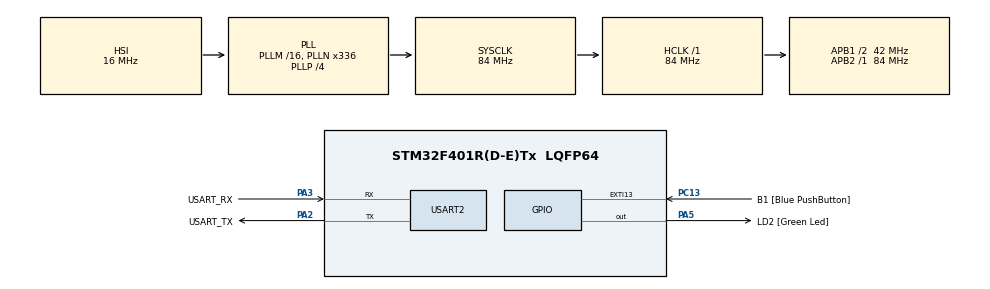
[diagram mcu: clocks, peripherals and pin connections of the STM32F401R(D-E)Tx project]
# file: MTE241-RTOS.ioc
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Mcu.Family=STM32F4
Mcu.Name=STM32F401R(D-E)Tx
Mcu.Package=LQFP64
NVIC.PriorityGroup=NVIC_PRIORITYGROUP_0
PA13.GPIO_Label=TMS
PA13.Mode=Serial_Wire
PA13.Signal=SYS_JTMS-SWDIO
PA14.GPIO_Label=TCK
PA14.Mode=Serial_Wire
PA14.Signal=SYS_JTCK-SWCLK
PA2.GPIO_Label=USART_TX
PA2.GPIO_Mode=GPIO_MODE_AF_PP
PA2.GPIO_PuPd=GPIO_NOPULL
PA2.GPIO_Speed=GPIO_SPEED_FREQ_LOW
PA2.Mode=Asynchronous
PA2.Signal=USART2_TX
PA3.GPIO_Label=USART_RX
PA3.GPIO_Mode=GPIO_MODE_AF_PP
PA3.GPIO_PuPd=GPIO_NOPULL
PA3.GPIO_Speed=GPIO_SPEED_FREQ_LOW
PA3.Mode=Asynchronous
PA3.Signal=USART2_RX
PA5.GPIO_Label=LD2 [Green Led]
PA5.GPIO_Mode=GPIO_MODE_OUTPUT_PP
PA5.GPIO_PuPd=GPIO_NOPULL
PA5.GPIO_Speed=GPIO_SPEED_FREQ_LOW
PA5.Signal=GPIO_Output
PB3.GPIO_Label=SWO
PB3.Signal=SYS_JTDO-SWO
PC13-ANTI_TAMP.GPIO_Label=B1 [Blue PushButton]
PC13-ANTI_TAMP.GPIO_ModeDefaultEXTI=GPIO_MODE_IT_FALLING
PC13-ANTI_TAMP.GPIO_PuPd=GPIO_NOPULL
PC13-ANTI_TAMP.Signal=GPXTI13
PC14-OSC32_IN.Mode=LSE-External-Oscillator
PC14-OSC32_IN.Signal=RCC_OSC32_IN
PC15-OSC32_OUT.Mode=LSE-External-Oscillator
PC15-OSC32_OUT.Signal=RCC_OSC32_OUT
PH0\ -\ OSC_IN.Mode=HSE-External-Clock-Source
PH0\ -\ OSC_IN.Signal=RCC_OSC_IN
PH1\ -\ OSC_OUT.Mode=HSE-External-Clock-Source
PH1\ -\ OSC_OUT.Signal=RCC_OSC_OUT
ProjectManager.HeapSize=0x200
ProjectManager.StackSize=0x400
ProjectManager.TargetToolchain=STM32CubeIDE
RCC.48MHZClocksFreq_Value=48000000
RCC.AHBFreq_Value=84000000
RCC.APB1CLKDivider=RCC_HCLK_DIV2
RCC.APB1Freq_Value=42000000
RCC.APB1TimFreq_Value=84000000
RCC.APB2Freq_Value=84000000
RCC.APB2TimFreq_Value=84000000
RCC.CortexFreq_Value=84000000
RCC.HCLKFreq_Value=84000000
RCC.HSE_VALUE=8000000
RCC.HSI_VALUE=16000000
RCC.PLLN=336
RCC.PLLP=RCC_PLLP_DIV4
RCC.PLLQ=7
RCC.SYSCLKFreq_VALUE=84000000
RCC.SYSCLKSource=RCC_SYSCLKSOURCE_PLLCLK
RCC.VCOOutputFreq_Value=336000000
USART2.VirtualMode=VM_ASYNC
board=NUCLEO-F401RE

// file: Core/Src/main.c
/* USER CODE BEGIN Header */
/**
  ******************************************************************************
  * @file           : main.c
  * @brief          : Main program body
  ******************************************************************************
  * @attention
  *
  * Copyright (c) 2023 STMicroelectronics.
  * All rights reserved.
  *
  * This software is licensed under terms that can be found in the LICENSE file
  * in the root directory of this software component.
  * If no LICENSE file comes with this software, it is provided AS-IS.
  *
  ******************************************************************************
  */
/* USER CODE END Header */
#include "main.h"
#include "kernel.h"

UART_HandleTypeDef huart2;

void SystemClock_Config(void);
static void MX_GPIO_Init(void);
static void MX_USART2_UART_Init(void);
/* USER CODE BEGIN PFP */
int __io_putchar(int ch)
{
	HAL_UART_Transmit(&huart2, (uint8_t*)&ch, 1, HAL_MAX_DELAY);
	return ch;
}
volatile uint32_t valueToModify = 1;
/* USER CODE END PFP */

/* USER CODE BEGIN 0 */

uint32_t* interesting = 0xBA5EBA11;

typedef struct{
	uint32_t input1;
	uint32_t input2;
}myStruct;

void thread_function(void* args) {

    myStruct *structPtr = (myStruct*)args;

	while (1) {
		printf("\r\nThread2: %lu\r\n", valueToModify);
	}
}

void print_continuously(void* args) {
    myStruct *structPtr = (myStruct*)args;

	while (1) {
		valueToModify = valueToModify+(structPtr -> input2);
		valueToModify = valueToModify*(structPtr -> input1);
		if (valueToModify > 10000) valueToModify = 1;
		osYield();
	}
}

/* USER CODE END 0 */

myStruct struct1;
myStruct *structptr = &struct1;

int main(void)
{
  /* USER CODE BEGIN 1 */
	struct1.input1 = 2;
	struct1.input2 = 3;

  /* USER CODE END 1 */

  /* MCU Configuration--------------------------------------------------------*/

  /* Reset of all peripherals, Initializes the Flash interface and the Systick. */
  HAL_Init();

  /* Configure the system clock */
  SystemClock_Config();

  /* Initialize all configured peripherals */
  MX_GPIO_Init();
  MX_USART2_UART_Init();
  //USER CODE BEGIN 2
  //char m = 'm';
  //printf("Hello, world!\r\n");

  //printf("MSP Init is: %p\n\r", MSP_INIT_VAL);

  osKernelInitialize();
  osCreateThreadWithDeadline((void*)thread_function, (void*)structptr, 200);
  osCreateThread((void*)print_continuously, (void*)structptr);
  //osCreateThread((void*)print_again);
  osKernelStart();

  //__set_PSP(PSP_val);
  //__set_CONTROL(2);
  /* USER CODE END 2 */

  // Infinite loop */
  /* USER CODE BEGIN WHILE */
  //print_continuously();
  //jumpAssembly((void*)print_continuously);
  //print_success();
  //print_fail();

  while (1)
  {

    /* USER CODE END WHILE */

  }
}

void SystemClock_Config(void)
{
  RCC_OscInitTypeDef RCC_OscInitStruct = {0};
  RCC_ClkInitTypeDef RCC_ClkInitStruct = {0};

  /** Configure the main internal regulator output voltage
  */
  __HAL_RCC_PWR_CLK_ENABLE();
  __HAL_PWR_VOLTAGESCALING_CONFIG(PWR_REGULATOR_VOLTAGE_SCALE2);

  /** Initializes the RCC Oscillators according to the specified parameters
  * in the RCC_OscInitTypeDef structure.
  */
  RCC_OscInitStruct.OscillatorType = RCC_OSCILLATORTYPE_HSI;
  RCC_OscInitStruct.HSIState = RCC_HSI_ON;
  RCC_OscInitStruct.HSICalibrationValue = RCC_HSICALIBRATION_DEFAULT;
  RCC_OscInitStruct.PLL.PLLState = RCC_PLL_ON;
  RCC_OscInitStruct.PLL.PLLSource = RCC_PLLSOURCE_HSI;
  RCC_OscInitStruct.PLL.PLLM = 16;
  RCC_OscInitStruct.PLL.PLLN = 336;
  RCC_OscInitStruct.PLL.PLLP = RCC_PLLP_DIV4;
  RCC_OscInitStruct.PLL.PLLQ = 7;
  if (HAL_RCC_OscConfig(&RCC_OscInitStruct) != HAL_OK)
  {
    Error_Handler();
  }

  /** Initializes the CPU, AHB and APB buses clocks
  */
  RCC_ClkInitStruct.ClockType = RCC_CLOCKTYPE_HCLK|RCC_CLOCKTYPE_SYSCLK
                              |RCC_CLOCKTYPE_PCLK1|RCC_CLOCKTYPE_PCLK2;
  RCC_ClkInitStruct.SYSCLKSource = RCC_SYSCLKSOURCE_PLLCLK;
  RCC_ClkInitStruct.AHBCLKDivider = RCC_SYSCLK_DIV1;
  RCC_ClkInitStruct.APB1CLKDivider = RCC_HCLK_DIV2;
  RCC_ClkInitStruct.APB2CLKDivider = RCC_HCLK_DIV1;

  if (HAL_RCC_ClockConfig(&RCC_ClkInitStruct, FLASH_LATENCY_2) != HAL_OK)
  {
    Error_Handler();
  }
}

static void MX_USART2_UART_Init(void)
{

  huart2.Instance = USART2;
  huart2.Init.BaudRate = 115200;
  huart2.Init.WordLength = UART_WORDLENGTH_8B;
  huart2.Init.StopBits = UART_STOPBITS_1;
  huart2.Init.Parity = UART_PARITY_NONE;
  huart2.Init.Mode = UART_MODE_TX_RX;
  huart2.Init.HwFlowCtl = UART_HWCONTROL_NONE;
  huart2.Init.OverSampling = UART_OVERSAMPLING_16;
  if (HAL_UART_Init(&huart2) != HAL_OK)
  {
    Error_Handler();
  }

}

static void MX_GPIO_Init(void)
{
  GPIO_InitTypeDef GPIO_InitStruct = {0};

  /* GPIO Ports Clock Enable */
  __HAL_RCC_GPIOC_CLK_ENABLE();
  __HAL_RCC_GPIOH_CLK_ENABLE();
  __HAL_RCC_GPIOA_CLK_ENABLE();
  __HAL_RCC_GPIOB_CLK_ENABLE();

  /*Configure GPIO pin Output Level */
  HAL_GPIO_WritePin(LD2_GPIO_Port, LD2_Pin, GPIO_PIN_RESET);

  /*Configure GPIO pin : B1_Pin */
  GPIO_InitStruct.Pin = B1_Pin;
  GPIO_InitStruct.Mode = GPIO_MODE_IT_FALLING;
  GPIO_InitStruct.Pull = GPIO_NOPULL;
  HAL_GPIO_Init(B1_GPIO_Port, &GPIO_InitStruct);

  /*Configure GPIO pin : LD2_Pin */
  GPIO_InitStruct.Pin = LD2_Pin;
  GPIO_InitStruct.Mode = GPIO_MODE_OUTPUT_PP;
  GPIO_InitStruct.Pull = GPIO_NOPULL;
  GPIO_InitStruct.Speed = GPIO_SPEED_FREQ_LOW;
  HAL_GPIO_Init(LD2_GPIO_Port, &GPIO_InitStruct);

}

void Error_Handler(void)
{
  __disable_irq();
  while (1)
  {
  }
}
